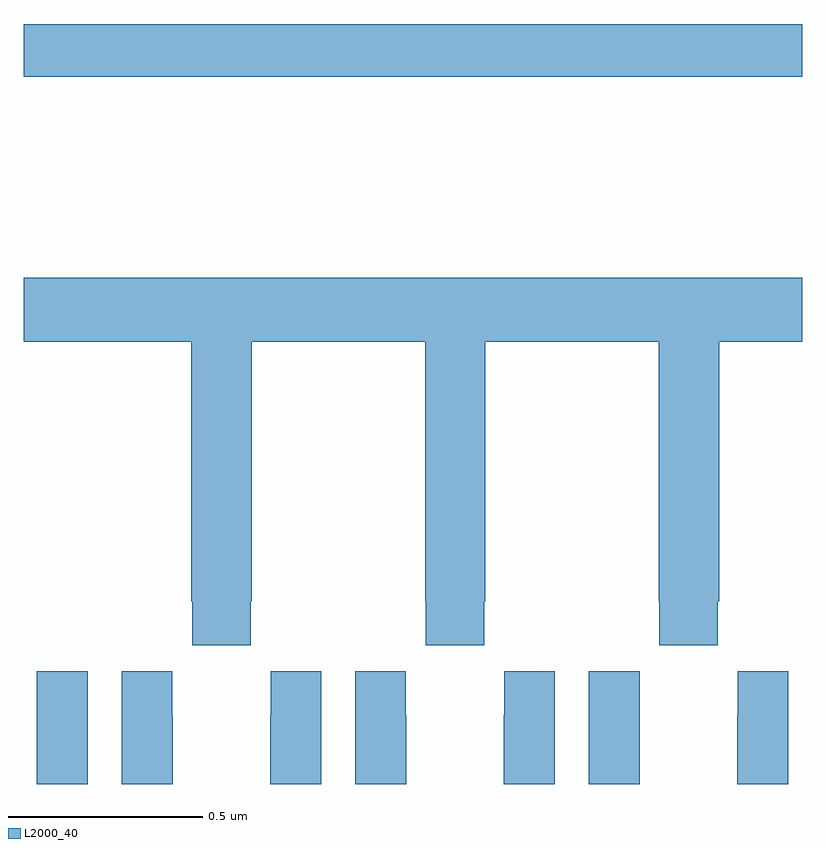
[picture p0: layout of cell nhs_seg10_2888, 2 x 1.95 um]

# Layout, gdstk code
import gdstk
lib = gdstk.Library(unit=1e-6, precision=1e-09)
def R(c, l, rs):  # rectangles x0, y0, x1, y1
    for r in rs: c.add(gdstk.rectangle(r[:2], r[2:], *l))
def P(c, l, *ps):  # polygons
    for p in ps: c.add(gdstk.Polygon(p, *l))
L2000_40 = (2000, 40)

nhs_seg10_2888 = lib.new_cell('nhs_seg10_2888')
R(nhs_seg10_2888, L2000_40, [(146,1314.316,148,1314.452)])
P(nhs_seg10_2888, L2000_40, [(146.583,1312.969),(146.586,1312.969),(146.586,1313.636),(147.031,1313.636),(147.031,1312.969),(147.033,1312.969),(147.033,1312.857),(147.183,1312.857),(147.183,1312.969),(147.186,1312.969),(147.186,1313.636),(147.631,1313.636),(147.631,1312.969),(147.633,1312.969),(147.633,1312.857),(147.783,1312.857),(147.783,1312.969),(147.786,1312.969),(147.786,1313.636),(148,1313.636),(148,1313.8),(146,1313.8),(146,1313.636),(146.431,1313.636),(146.431,1312.969),(146.433,1312.969),(146.433,1312.857),(146.583,1312.857)],
  [(147.964,1312.789),(147.834,1312.789),(147.834,1312.676),(147.833,1312.676),(147.833,1312.5),(147.964,1312.5)],
  [(146.164,1312.789),(146.034,1312.789),(146.034,1312.676),(146.033,1312.676),(146.033,1312.5),(146.164,1312.5)],
  [(146.383,1312.676),(146.382,1312.676),(146.382,1312.789),(146.252,1312.789),(146.252,1312.5),(146.383,1312.5)],
  [(146.764,1312.789),(146.634,1312.789),(146.634,1312.676),(146.633,1312.676),(146.633,1312.5),(146.764,1312.5)],
  [(146.983,1312.676),(146.982,1312.676),(146.982,1312.789),(146.852,1312.789),(146.852,1312.5),(146.983,1312.5)],
  [(147.364,1312.789),(147.234,1312.789),(147.234,1312.676),(147.233,1312.676),(147.233,1312.5),(147.364,1312.5)],
  [(147.583,1312.676),(147.582,1312.676),(147.582,1312.789),(147.452,1312.789),(147.452,1312.5),(147.583,1312.5)])

lib.write_gds('nhs_seg10_2888.gds')
